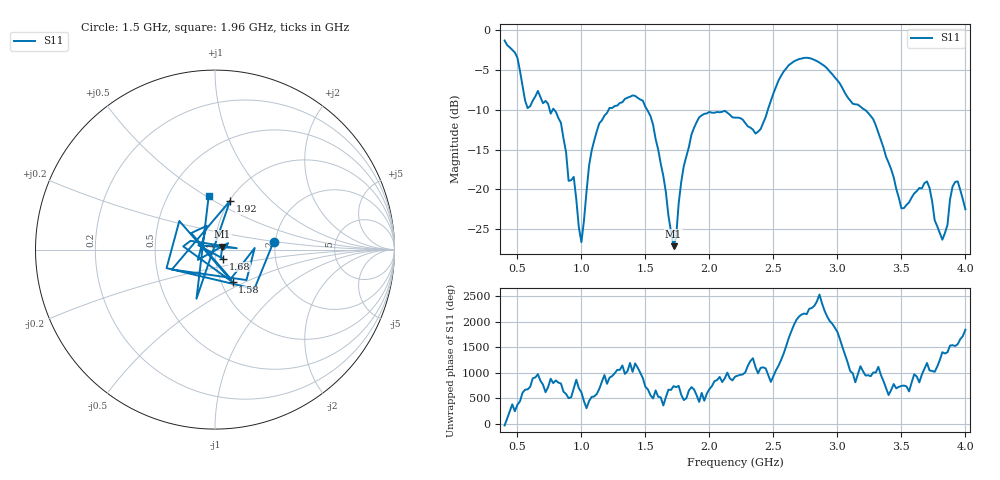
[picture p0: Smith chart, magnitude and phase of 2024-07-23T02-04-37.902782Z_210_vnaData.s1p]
!Created with skrf (http://scikit-rf.org).
# Hz S RI R 50.0
!freq ReS11 ImS11
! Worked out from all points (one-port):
!   181 points, 400 MHz to 4 GHz, reference 50 ohm
!   lowest |S11| = -27.2 dB at 1.72 GHz (marker M1), VSWR 1.09, Z = 54.2 + j1.74 ohm
!   |S11| at or under -10 dB: 787.9 MHz to 1.212 GHz (424.2 MHz wide, 42.4 % of centre); 1.514 GHz to 2.456 GHz (942.6 MHz wide, 47.5 % of centre); 3.216 GHz to end of sweep (the widest 3 of 4)
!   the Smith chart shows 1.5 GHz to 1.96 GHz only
!   S11 on the Smith chart (normalised r, x): 1.5 GHz: 1.96, +0.20; 1.58 GHz: 1.13, -0.43; 1.68 GHz: 1.09, -0.11; 1.92 GHz: 1.01, +0.59; 1.96 GHz: 0.79, +0.51
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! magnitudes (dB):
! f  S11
! 400 MHz  -1.3
! 500 MHz  -3.4
! 580 MHz  -9.8
! 660 MHz  -7.6
! 860 MHz  -13.6
! 900 MHz  -18.9
! 940 MHz  -18.4
! 1 GHz  -26.6
! 1.1 GHz  -13.9
! 1.3 GHz  -9.1
! 1.5 GHz  -9.6
! 1.58 GHz  -13.7
! 1.68 GHz  -23.3
! 1.72 GHz  -27.2
! 1.76 GHz  -21.8
! 1.92 GHz  -10.9
! 1.96 GHz  -10.5
! 2.2 GHz  -11.0
! 2.38 GHz  -12.7
! 2.66 GHz  -3.9
! 3.1 GHz  -8.8
! 3.28 GHz  -11.2
! 3.5 GHz  -22.4
! 3.56 GHz  -21.6
! 3.7 GHz  -19.0
! 3.82 GHz  -26.3
! 3.92 GHz  -19.1
! 4 GHz  -22.5
